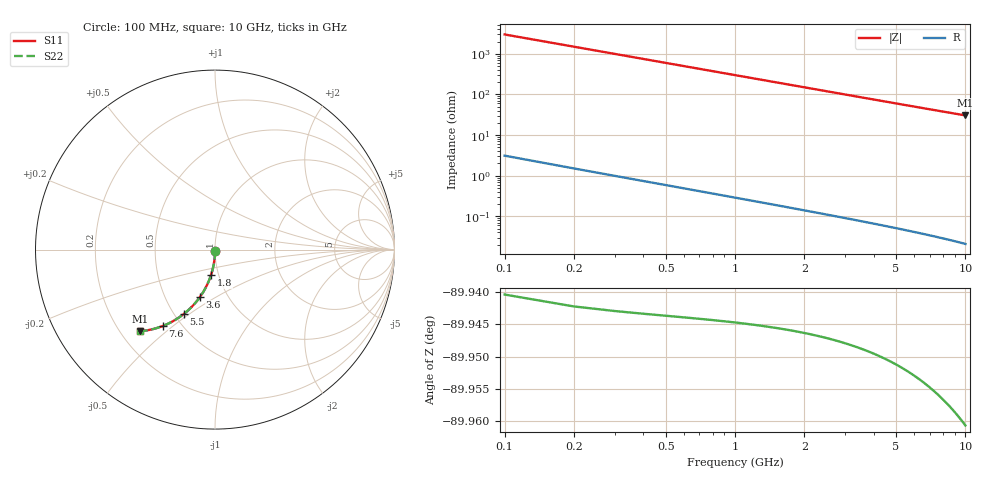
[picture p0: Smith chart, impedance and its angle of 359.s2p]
# Hz S RI R 50.00
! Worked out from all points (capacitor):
!   100 points, 100 MHz to 10 GHz, reference 50 ohm
!   read as one part in shunt: C = 533 fF near 100 MHz
!   lowest |Z| = 30.4 ohm at 10 GHz (marker M1)
!   S11 on the Smith chart (normalised r, x): 100 MHz: 1.00, -0.02; 1.8 GHz: 0.92, -0.26; 3.6 GHz: 0.74, -0.42; 5.5 GHz: 0.56, -0.48; 7.6 GHz: 0.40, -0.46; 10 GHz: 0.28, -0.41
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1e8  0.000336 -0.00799  0.9995 -0.00874  0.9995 -0.00874  0.000336 -0.00799
2e8  0.000121 -0.016  0.9993 -0.0175  0.9993 -0.0175  0.000121 -0.016
3e8  -0.000234 -0.024  0.9989 -0.0262  0.9989 -0.0262  -0.000234 -0.024
4e8  -0.000728 -0.0319  0.9984 -0.0349  0.9984 -0.0349  -0.000728 -0.0319
5e8  -0.00136 -0.0399  0.9978 -0.0436  0.9978 -0.0436  -0.00136 -0.0399
6e8  -0.00213 -0.0478  0.997 -0.0523  0.997 -0.0523  -0.00213 -0.0478
8e8  -0.00409 -0.0636  0.995 -0.0696  0.995 -0.0696  -0.00409 -0.0636
1.1e9  -0.00804 -0.0871  0.9911 -0.0954  0.9911 -0.0954  -0.00804 -0.0871
1.4e9  -0.0132 -0.1103  0.9859 -0.1208  0.9859 -0.1208  -0.0132 -0.1103
1.8e9  -0.0219 -0.1405  0.9772 -0.154  0.9772 -0.154  -0.0219 -0.1405
2.1e9  -0.0296 -0.1626  0.9694 -0.1784  0.9694 -0.1784  -0.0296 -0.1626
2.5e9  -0.0416 -0.1911  0.9573 -0.2099  0.9573 -0.2099  -0.0416 -0.1911
2.9e9  -0.0554 -0.2184  0.9435 -0.2402  0.9435 -0.2402  -0.0554 -0.2184
3.4e9  -0.0747 -0.2506  0.9241 -0.2762  0.9241 -0.2762  -0.0747 -0.2506
3.6e9  -0.0831 -0.2629  0.9157 -0.2899  0.9157 -0.2899  -0.0831 -0.2629
4.3e9  -0.1147 -0.3028  0.8839 -0.3351  0.8839 -0.3351  -0.1147 -0.3028
5.1e9  -0.1544 -0.3424  0.8439 -0.3808  0.8439 -0.3808  -0.1544 -0.3424
5.5e9  -0.1753 -0.3597  0.8229 -0.4012  0.8229 -0.4012  -0.1753 -0.3597
6.7e9  -0.2404 -0.4022  0.7573 -0.4528  0.7573 -0.4528  -0.2404 -0.4022
7.6e9  -0.29 -0.4251  0.7074 -0.4825  0.7074 -0.4825  -0.29 -0.4251
8.4e9  -0.3334 -0.4396  0.6636 -0.5032  0.6636 -0.5032  -0.3334 -0.4396
1e10  -0.4162 -0.4547  0.5799 -0.5307  0.5799 -0.5307  -0.4162 -0.4547
